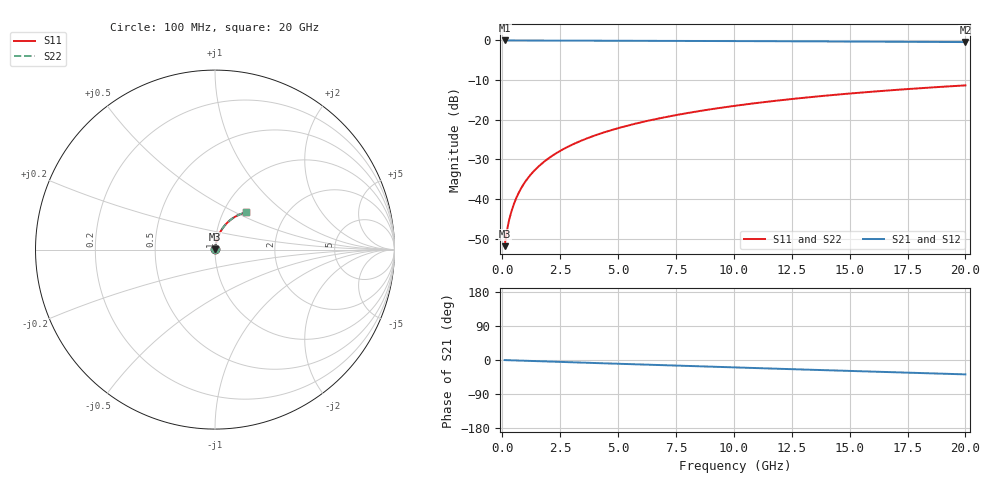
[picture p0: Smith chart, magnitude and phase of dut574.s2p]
! Touchstone file exported from HFSS 2026.1.0
!  File:  C:/ffzhzh/LocalFiles/Ansys_Project_Files/temp_train_BSMRDL_574_1783015584_53980.aedt
!  Generated:  02:07:49 AM Jul  3, 2026
!  Design:  BSMRDL
!  Project:  temp_train_BSMRDL_574_1783015584_53980
! Variables:
!  h_bsmrdl = 5.93um
!  h_ox = 20um
!  h_rdl = 5um
!  h_sub = 80um
!  h_tmrdl = 5um
!  h_tsv = 80um
!  h_via = 3um
!  l_bsmrdl = 603.54um
!  l_sub = 1003.54um
!  l_tmrdl = 200um
!  m_sub = 200um
!  pitch = 42.61um
!  r_tsv = 6um
!  s_tmrdl = 10um
!  w_bsmrdl = 23.08um
!  w_sub = 500um
!  w_tmrdl = 12um
!  x_tsv_center1 = 206um
!  x_tsv_center2 = 832.62um
!  x_tsv_center3 = 1044.62um
!  x_tsv_center4 = 1671.24um
!  x_tsv_center5 = 1883.24um
!  x_tsv_center6 = 2509.86um
# GHz S MA R 50.000000
! Terminal data exported
! Port[1] = BSM_RDL1_1_T1
! Port[2] = BSM_RDL1_1_T2
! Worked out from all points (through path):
!   200 points, 100 MHz to 20 GHz, reference 50 ohm
!   highest |S21| = -0.02 dB at 100 MHz (marker M1); lowest = -0.4 dB at 20 GHz (marker M2)
!   group delay of S21, straight-line fit = 5.26 ps
!   lowest |S11| = -51.9 dB at 100 MHz (marker M3), VSWR 1.01, Z = 50.2 + j0.184 ohm
!   |S11| at or under -10 dB: start of sweep to end of sweep
!   |S22| runs from -51.9 to -11.3 dB; largest |S21 - S12| = 4.4e-15
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0.1  0.002537 46.2  0.9982 -0.2  0.9982 -0.2  0.002537 46.2
! Gamma 0 0 0 0
! Port Impedance 50 0 50 0
0.2  0.003998 61.2  0.9981 -0.4  0.9981 -0.4  0.003998 61.2
0.3  0.005512 68.1  0.998 -0.6  0.998 -0.6  0.005512 68.1
0.4  0.007057 72.2  0.9979 -0.8  0.9979 -0.8  0.007057 72.2
0.5  0.008627 74.8  0.9978 -1.0  0.9978 -1.0  0.008627 74.8
0.6  0.01021 76.5  0.9978 -1.2  0.9978 -1.2  0.01021 76.5
0.8  0.01341 78.7  0.9977 -1.6  0.9977 -1.6  0.01341 78.7
1.1  0.01824 80.1  0.9974 -2.2  0.9974 -2.2  0.01824 80.1
1.3  0.02144 80.5  0.9972 -2.6  0.9972 -2.6  0.02144 80.5
1.5  0.02464 80.7  0.997 -3.0  0.997 -3.0  0.02464 80.7
1.8  0.02941 80.7  0.9966 -3.6  0.9966 -3.6  0.02941 80.7
2.1  0.03414 80.4  0.9963 -4.2  0.9963 -4.2  0.03414 80.4
2.7  0.04348 79.7  0.9954 -5.4  0.9954 -5.4  0.04348 79.7
3.5  0.0557 78.5  0.9941 -7.0  0.9941 -7.0  0.0557 78.6
4.2  0.06622 77.4  0.993 -8.4  0.993 -8.4  0.06622 77.4
5  0.07807 76.1  0.9916 -9.9  0.9916 -9.9  0.07807 76.1
6.8  0.1042 73.1  0.9882 -13.4  0.9882 -13.4  0.1042 73.1
8.3  0.1255 70.5  0.9851 -16.3  0.9851 -16.3  0.1255 70.5
10.1  0.1503 67.4  0.9809 -19.7  0.9809 -19.7  0.1503 67.4
13.4  0.1938 61.5  0.9723 -25.9  0.9723 -25.9  0.1938 61.6
16.7  0.234 55.7  0.9627 -32.0  0.9627 -32.0  0.234 55.7
20  0.2708 49.9  0.9525 -37.9  0.9525 -37.9  0.2708 50.0
